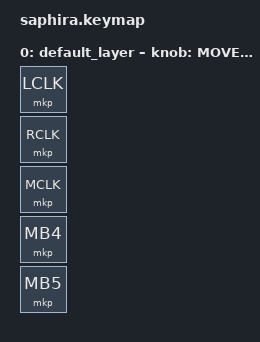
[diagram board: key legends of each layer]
#include <behaviors.dtsi>
#include <dt-bindings/zmk/keys.dtsi>
#include <dt-bindings/zmk/pointing.dtsi>

/ {
    keymap {
        compatible = "zmk,keymap";

        default_layer {
            bindings = <
                &mkp LCLK    // Sol Tık
                &mkp RCLK    // Sağ Tık
                &mkp MCLK    // Orta Tık
                &mkp MB4     // Yan Tuş (İleri)
                &mkp MB5     // Yan Tuş (Geri)
            >;

            sensor-bindings = <&inc_dec_kp MOVE_Y(-1) MOVE_Y(1)>;
        };
    };
};
